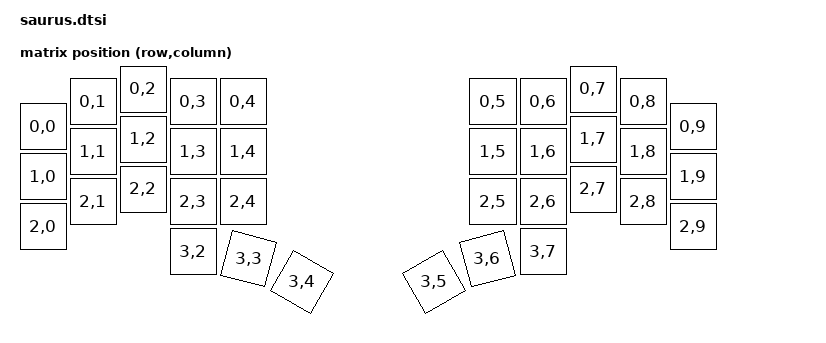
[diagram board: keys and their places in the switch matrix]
#include <dt-bindings/zmk/matrix_transform.h>
#include <physical_layouts.dtsi>

/ {
    chosen {
        zmk,kscan = &kscan0;
        zmk,physical-layout = &default_layout;
    };


    default_layout: default_layout {
        compatible = "zmk,physical-layout";
        display-name = "Default Layout";
        transform = <&default_transform>;

        keys  //                     w   h    x    y     rot    rx    ry
            = <&key_physical_attrs 100 100    0   75       0     0     0>
            , <&key_physical_attrs 100 100  100   25       0     0     0>
            , <&key_physical_attrs 100 100  200    0       0     0     0>
            , <&key_physical_attrs 100 100  300   25       0     0     0>
            , <&key_physical_attrs 100 100  400   25       0     0     0>
            , <&key_physical_attrs 100 100  900   25       0     0     0>
            , <&key_physical_attrs 100 100 1000   25       0     0     0>
            , <&key_physical_attrs 100 100 1100    0       0     0     0>
            , <&key_physical_attrs 100 100 1200   25       0     0     0>
            , <&key_physical_attrs 100 100 1300   75       0     0     0>
            , <&key_physical_attrs 100 100    0  175       0     0     0>
            , <&key_physical_attrs 100 100  100  125       0     0     0>
            , <&key_physical_attrs 100 100  200  100       0     0     0>
            , <&key_physical_attrs 100 100  300  125       0     0     0>
            , <&key_physical_attrs 100 100  400  125       0     0     0>
            , <&key_physical_attrs 100 100  900  125       0     0     0>
            , <&key_physical_attrs 100 100 1000  125       0     0     0>
            , <&key_physical_attrs 100 100 1100  100       0     0     0>
            , <&key_physical_attrs 100 100 1200  125       0     0     0>
            , <&key_physical_attrs 100 100 1300  175       0     0     0>
            , <&key_physical_attrs 100 100    0  275       0     0     0>
            , <&key_physical_attrs 100 100  100  225       0     0     0>
            , <&key_physical_attrs 100 100  200  200       0     0     0>
            , <&key_physical_attrs 100 100  300  225       0     0     0>
            , <&key_physical_attrs 100 100  400  225       0     0     0>
            , <&key_physical_attrs 100 100  900  225       0     0     0>
            , <&key_physical_attrs 100 100 1000  225       0     0     0>
            , <&key_physical_attrs 100 100 1100  200       0     0     0>
            , <&key_physical_attrs 100 100 1200  225       0     0     0>
            , <&key_physical_attrs 100 100 1300  275       0     0     0>
            , <&key_physical_attrs 100 100  300  325       0     0     0>
            , <&key_physical_attrs 100 100  400  325    1500   400   425>
            , <&key_physical_attrs 100 100  500  370    3000   530   460>
            , <&key_physical_attrs 100 100  800  370 (-3000)   870   460>
            , <&key_physical_attrs 100 100  900  325 (-1500)  1000   425>
            , <&key_physical_attrs 100 100 1000  325       0     0     0>
            ;
    };

    default_transform: keymap_transform_0 {
        compatible = "zmk,matrix-transform";
        columns = <10>;
        rows = <4>;
//             | SW01  | SW02  | SW03  | SW04  | SW05  |  | SW05  | SW04  | SW03  | SW02  | SW01  |
//             | SW06  | SW07  | SW08  | SW09  | SW10  |  | SW10  | SW09  | SW08  | SW07  | SW06  | 
//             | SW11  | SW12  | SW13  | SW14  | SW15  |  | SW15  | SW14  | SW13  | SW12  | SW11  |
//                             | SW16  | SW17  | SW18  |  | SW18  | SW17  | SW16  | 
        map = <
                RC(0,0) RC(0,1) RC(0,2) RC(0,3) RC(0,4)    RC(0,5) RC(0,6) RC(0,7) RC(0,8) RC(0,9)
                RC(1,0) RC(1,1) RC(1,2) RC(1,3) RC(1,4)    RC(1,5) RC(1,6) RC(1,7) RC(1,8) RC(1,9)
                RC(2,0) RC(2,1) RC(2,2) RC(2,3) RC(2,4)    RC(2,5) RC(2,6) RC(2,7) RC(2,8) RC(2,9)
                                RC(3,2) RC(3,3) RC(3,4)    RC(3,5) RC(3,6) RC(3,7)         
        >;
    };


    kscan0: kscan_0 {
        compatible = "zmk,kscan-gpio-matrix";
        diode-direction = "col2row"; 
	wakeup-source;
    };
};

&xiao_serial {
    status = "disabled";
};
